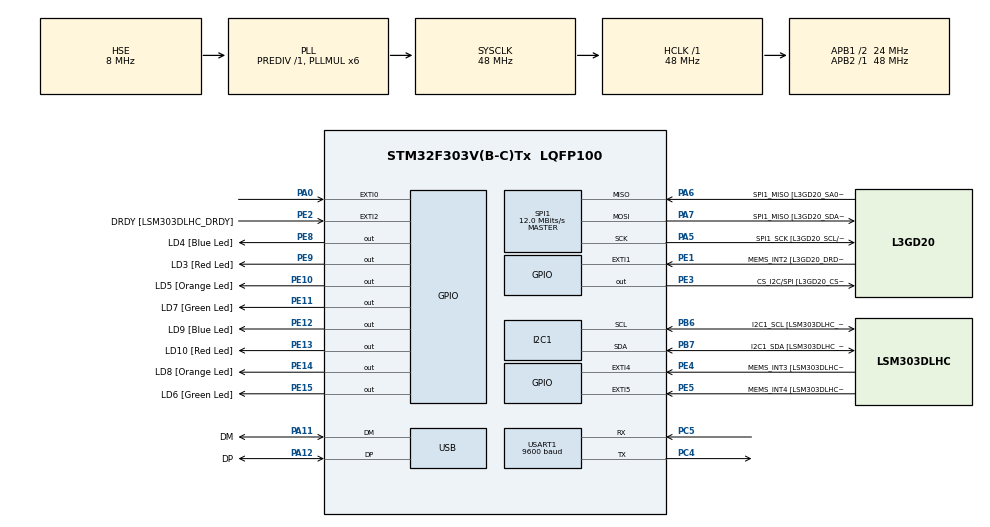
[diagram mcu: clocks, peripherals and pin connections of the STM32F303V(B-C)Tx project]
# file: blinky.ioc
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I2C1.Timing-I2C=0x2000090E
Mcu.Family=STM32F3
Mcu.Name=STM32F303V(B-C)Tx
Mcu.Package=LQFP100
NVIC.EXTI0_IRQn=true\:0\:0\:false\:false\:true\:true\:true\:true
NVIC.PriorityGroup=NVIC_PRIORITYGROUP_0
NVIC.TIM1_BRK_TIM15_IRQn=true\:0\:0\:false\:false\:true\:true\:true\:true
NVIC.TIM1_CC_IRQn=true\:0\:0\:false\:false\:true\:true\:true\:true
NVIC.TIM1_TRG_COM_TIM17_IRQn=true\:0\:0\:false\:false\:true\:true\:true\:true
NVIC.TIM1_UP_TIM16_IRQn=true\:0\:0\:false\:false\:true\:true\:true\:true
PA0.GPIO_ModeDefaultEXTI=GPIO_MODE_IT_FALLING
PA0.Signal=GPXTI0
PA11.GPIO_Label=DM
PA11.Mode=Device
PA11.Signal=USB_DM
PA12.GPIO_Label=DP
PA12.Mode=Device
PA12.Signal=USB_DP
PA13.GPIO_Label=SWDIO
PA13.Mode=Serial_Wire
PA13.Signal=SYS_JTMS-SWDIO
PA14.GPIO_Label=SWCLK
PA14.Mode=Serial_Wire
PA14.Signal=SYS_JTCK-SWCLK
PA5.GPIO_Label=SPI1_SCK [L3GD20_SCL/SPC]
PA5.Mode=Full_Duplex_Master
PA5.Signal=SPI1_SCK
PA6.GPIO_Label=SPI1_MISO [L3GD20_SA0/SDO]
PA6.Mode=Full_Duplex_Master
PA6.Signal=SPI1_MISO
PA7.GPIO_Label=SPI1_MISO [L3GD20_SDA/SDI/SDO]
PA7.Mode=Full_Duplex_Master
PA7.Signal=SPI1_MOSI
PB3.GPIO_Label=SWO
PB3.Signal=SYS_JTDO-TRACESWO
PB6.GPIO_Label=I2C1_SCL [LSM303DLHC_SCL]
PB6.GPIO_Pu=GPIO_PULLUP
PB6.Mode=I2C
PB6.Signal=I2C1_SCL
PB7.GPIO_Label=I2C1_SDA [LSM303DLHC_SDA]
PB7.GPIO_Pu=GPIO_PULLUP
PB7.Mode=I2C
PB7.Signal=I2C1_SDA
PC14-OSC32_IN.GPIO_Label=OSC32_IN
PC14-OSC32_IN.Signal=RCC_OSC32_IN
PC15-OSC32_OUT.GPIO_Label=OSC32_OUT
PC15-OSC32_OUT.Signal=RCC_OSC32_OUT
PC4.Mode=Asynchronous
PC4.Signal=USART1_TX
PC5.Mode=Asynchronous
PC5.Signal=USART1_RX
PE1.GPIO_Label=MEMS_INT2 [L3GD20_DRDY/INT2]
PE1.GPIO_ModeDefaultEXTI=GPIO_MODE_EVT_RISING
PE1.Signal=GPXTI1
PE10.GPIO_Label=LD5 [Orange Led]
PE10.Signal=GPIO_Output
PE11.GPIO_Label=LD7 [Green Led]
PE11.Signal=GPIO_Output
PE12.GPIO_Label=LD9 [Blue Led]
PE12.Signal=GPIO_Output
PE13.GPIO_Label=LD10 [Red Led]
PE13.Signal=GPIO_Output
PE14.GPIO_Label=LD8 [Orange Led]
PE14.Signal=GPIO_Output
PE15.GPIO_Label=LD6 [Green Led]
PE15.Signal=GPIO_Output
PE2.GPIO_Label=DRDY [LSM303DLHC_DRDY]
PE2.GPIO_ModeDefaultEXTI=GPIO_MODE_EVT_RISING
PE2.Signal=GPXTI2
PE3.GPIO_Label=CS_I2C/SPI [L3GD20_CS_I2C/SPI]
PE3.Signal=GPIO_Output
PE4.GPIO_Label=MEMS_INT3 [LSM303DLHC_INT1]
PE4.GPIO_ModeDefaultEXTI=GPIO_MODE_EVT_RISING
PE4.Signal=GPXTI4
PE5.GPIO_Label=MEMS_INT4 [LSM303DLHC_INT2]
PE5.GPIO_ModeDefaultEXTI=GPIO_MODE_EVT_RISING
PE5.Signal=GPXTI5
PE8.GPIO_Label=LD4 [Blue Led]
PE8.Signal=GPIO_Output
PE9.GPIO_Label=LD3 [Red Led]
PE9.Signal=GPIO_Output
PF0-OSC_IN.GPIO_Label=OSC_IN
PF0-OSC_IN.Mode=HSE-External-Clock-Source
PF0-OSC_IN.Signal=RCC_OSC_IN
PF1-OSC_OUT.GPIO_Label=OSC_OUT
PF1-OSC_OUT.Signal=RCC_OSC_OUT
ProjectManager.HeapSize=0x200
ProjectManager.StackSize=0x400
ProjectManager.TargetToolchain=STM32CubeIDE
RCC.AHBFreq_Value=48000000
RCC.APB1CLKDivider=RCC_HCLK_DIV2
RCC.APB1Freq_Value=24000000
RCC.APB1TimFreq_Value=48000000
RCC.APB2Freq_Value=48000000
RCC.APB2TimFreq_Value=48000000
RCC.CortexFreq_Value=48000000
RCC.HCLKFreq_Value=48000000
RCC.HSE_VALUE=8000000
RCC.HSI_VALUE=8000000
RCC.LSE_VALUE=32768
RCC.PLLMUL=RCC_PLL_MUL6
RCC.SYSCLKFreq_VALUE=48000000
RCC.SYSCLKSourceVirtual=RCC_SYSCLKSOURCE_PLLCLK
RCC.USBFreq_Value=48000000
SPI1.BaudRatePrescaler=SPI_BAUDRATEPRESCALER_4
SPI1.BaudRatePrescaler-Full_Duplex_Master=SPI_BAUDRATEPRESCALER_2
SPI1.CalculateBaudRate=12.0 MBits/s
SPI1.CalculateBaudRate-Full_Duplex_Master=24.0 MBits/s
SPI1.Direction=SPI_DIRECTION_2LINES
SPI1.Mode=SPI_MODE_MASTER
SPI1.Mode-Full_Duplex_Master=SPI_MODE_MASTER
SPI1.VirtualType=VM_MASTER
TIM1.Period=50
TIM1.Prescaler=32000
USART1.BaudRate=9600
USART1.VirtualMode-Asynchronous=VM_ASYNC
VP_TIM1_VS_ClockSourceINT.Mode=Internal
board=STM32F3DISCOVERY

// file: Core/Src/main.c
/* USER CODE BEGIN Header */
/**
  ******************************************************************************
  * @file           : main.c
  * @brief          : Main program body
  ******************************************************************************
  * @attention
  *
  * Copyright (c) 2023 STMicroelectronics.
  * All rights reserved.
  *
  * This software is licensed under terms that can be found in the LICENSE file
  * in the root directory of this software component.
  * If no LICENSE file comes with this software, it is provided AS-IS.
  *
  ******************************************************************************
  */
/* USER CODE END Header */
#include "main.h"

/* USER CODE BEGIN Includes */
#include "stdbool.h"
#include <stdio.h>
/* USER CODE END Includes */

I2C_HandleTypeDef hi2c1;

SPI_HandleTypeDef hspi1;

TIM_HandleTypeDef htim1;

UART_HandleTypeDef huart1;

PCD_HandleTypeDef hpcd_USB_FS;

/* USER CODE BEGIN PV */
bool debouncing = false;
bool lightsOn = true;

/* USER CODE END PV */

void SystemClock_Config(void);
static void MX_GPIO_Init(void);
static void MX_I2C1_Init(void);
static void MX_SPI1_Init(void);
static void MX_USB_PCD_Init(void);
static void MX_USART1_UART_Init(void);
static void MX_TIM1_Init(void);
/* USER CODE BEGIN PFP */
#ifdef __GNUC__
#define PUTCHAR_PROTOTYPE int  __io_putchar(int ch)
#else
#define PUTCHAR_PROTOTYPE int fputc(int ch, FILE *f)
#endif

PUTCHAR_PROTOTYPE
{
	HAL_UART_Transmit(&huart1, (uint8_t *)&ch, 1, HAL_MAX_DELAY);
	return ch;
}
/* USER CODE END PFP */

/* USER CODE BEGIN 0 */
void HAL_TIM_PeriodElapsedCallback(TIM_HandleTypeDef *htim)
{
	printf("Time elapsed\r\n");

	if(HAL_GPIO_ReadPin(GPIOA, GPIO_PIN_0) == GPIO_PIN_RESET){
		lightsOn = !lightsOn;
		printf("Changing light state: %d\r\n", lightsOn);
		debouncing = false;
		HAL_TIM_Base_Stop_IT(&htim1);
	}
}

void HAL_GPIO_EXTI_Callback(uint16_t GPIO_Pin)
{
	if(GPIO_Pin == GPIO_PIN_0 && debouncing == false){
		HAL_TIM_Base_Start_IT(&htim1);
		debouncing = true;
	}
}
/* USER CODE END 0 */

int main(void)
{

  /* MCU Configuration--------------------------------------------------------*/

  /* Reset of all peripherals, Initializes the Flash interface and the Systick. */
  HAL_Init();

  /* Configure the system clock */
  SystemClock_Config();

  /* Initialize all configured peripherals */
  MX_GPIO_Init();
  MX_I2C1_Init();
  MX_SPI1_Init();
  MX_USB_PCD_Init();
  MX_USART1_UART_Init();
  MX_TIM1_Init();
  /* USER CODE BEGIN 2 */
  bool greenToggleCyle = true;
  /* USER CODE END 2 */

  /* Infinite loop */
  while (1)
  {

    /* USER CODE BEGIN 3 */
	if (!lightsOn) {
		HAL_GPIO_WritePin(GPIOE, GPIO_PIN_8, 0);
		HAL_GPIO_WritePin(GPIOE, GPIO_PIN_9, 0);
		HAL_GPIO_WritePin(GPIOE, GPIO_PIN_10, 0);
		HAL_GPIO_WritePin(GPIOE, GPIO_PIN_11, 0);
		HAL_GPIO_WritePin(GPIOE, GPIO_PIN_12, 0);
		HAL_GPIO_WritePin(GPIOE, GPIO_PIN_13, 0);
		HAL_GPIO_WritePin(GPIOE, GPIO_PIN_14, 0);
		HAL_GPIO_WritePin(GPIOE, GPIO_PIN_15, 0);
		continue;
	}

	if (greenToggleCyle) {
		HAL_GPIO_TogglePin (GPIOE, GPIO_PIN_11);
		HAL_GPIO_TogglePin (GPIOE, GPIO_PIN_15);
	}

	greenToggleCyle = !greenToggleCyle;

	HAL_GPIO_TogglePin (GPIOE, GPIO_PIN_8);
	HAL_GPIO_TogglePin (GPIOE, GPIO_PIN_12);
	HAL_Delay (150);
	HAL_GPIO_TogglePin (GPIOE, GPIO_PIN_9);
	HAL_GPIO_TogglePin (GPIOE, GPIO_PIN_13);
	HAL_Delay (150);
	HAL_GPIO_TogglePin (GPIOE, GPIO_PIN_10);
	HAL_GPIO_TogglePin (GPIOE, GPIO_PIN_14);
	HAL_Delay (150);
  }
  /* USER CODE END 3 */
}

void SystemClock_Config(void)
{
  RCC_OscInitTypeDef RCC_OscInitStruct = {0};
  RCC_ClkInitTypeDef RCC_ClkInitStruct = {0};
  RCC_PeriphCLKInitTypeDef PeriphClkInit = {0};

  /** Initializes the RCC Oscillators according to the specified parameters
  * in the RCC_OscInitTypeDef structure.
  */
  RCC_OscInitStruct.OscillatorType = RCC_OSCILLATORTYPE_HSI|RCC_OSCILLATORTYPE_HSE;
  RCC_OscInitStruct.HSEState = RCC_HSE_BYPASS;
  RCC_OscInitStruct.HSEPredivValue = RCC_HSE_PREDIV_DIV1;
  RCC_OscInitStruct.HSIState = RCC_HSI_ON;
  RCC_OscInitStruct.HSICalibrationValue = RCC_HSICALIBRATION_DEFAULT;
  RCC_OscInitStruct.PLL.PLLState = RCC_PLL_ON;
  RCC_OscInitStruct.PLL.PLLSource = RCC_PLLSOURCE_HSE;
  RCC_OscInitStruct.PLL.PLLMUL = RCC_PLL_MUL6;
  if (HAL_RCC_OscConfig(&RCC_OscInitStruct) != HAL_OK)
  {
    Error_Handler();
  }

  /** Initializes the CPU, AHB and APB buses clocks
  */
  RCC_ClkInitStruct.ClockType = RCC_CLOCKTYPE_HCLK|RCC_CLOCKTYPE_SYSCLK
                              |RCC_CLOCKTYPE_PCLK1|RCC_CLOCKTYPE_PCLK2;
  RCC_ClkInitStruct.SYSCLKSource = RCC_SYSCLKSOURCE_PLLCLK;
  RCC_ClkInitStruct.AHBCLKDivider = RCC_SYSCLK_DIV1;
  RCC_ClkInitStruct.APB1CLKDivider = RCC_HCLK_DIV2;
  RCC_ClkInitStruct.APB2CLKDivider = RCC_HCLK_DIV1;

  if (HAL_RCC_ClockConfig(&RCC_ClkInitStruct, FLASH_LATENCY_1) != HAL_OK)
  {
    Error_Handler();
  }
  PeriphClkInit.PeriphClockSelection = RCC_PERIPHCLK_USB|RCC_PERIPHCLK_USART1
                              |RCC_PERIPHCLK_I2C1|RCC_PERIPHCLK_TIM1;
  PeriphClkInit.Usart1ClockSelection = RCC_USART1CLKSOURCE_PCLK2;
  PeriphClkInit.I2c1ClockSelection = RCC_I2C1CLKSOURCE_HSI;
  PeriphClkInit.USBClockSelection = RCC_USBCLKSOURCE_PLL;
  PeriphClkInit.Tim1ClockSelection = RCC_TIM1CLK_HCLK;
  if (HAL_RCCEx_PeriphCLKConfig(&PeriphClkInit) != HAL_OK)
  {
    Error_Handler();
  }
}

static void MX_I2C1_Init(void)
{

  hi2c1.Instance = I2C1;
  hi2c1.Init.Timing = 0x2000090E;
  hi2c1.Init.OwnAddress1 = 0;
  hi2c1.Init.AddressingMode = I2C_ADDRESSINGMODE_7BIT;
  hi2c1.Init.DualAddressMode = I2C_DUALADDRESS_DISABLE;
  hi2c1.Init.OwnAddress2 = 0;
  hi2c1.Init.OwnAddress2Masks = I2C_OA2_NOMASK;
  hi2c1.Init.GeneralCallMode = I2C_GENERALCALL_DISABLE;
  hi2c1.Init.NoStretchMode = I2C_NOSTRETCH_DISABLE;
  if (HAL_I2C_Init(&hi2c1) != HAL_OK)
  {
    Error_Handler();
  }

  /** Configure Analogue filter
  */
  if (HAL_I2CEx_ConfigAnalogFilter(&hi2c1, I2C_ANALOGFILTER_ENABLE) != HAL_OK)
  {
    Error_Handler();
  }

  /** Configure Digital filter
  */
  if (HAL_I2CEx_ConfigDigitalFilter(&hi2c1, 0) != HAL_OK)
  {
    Error_Handler();
  }

}

static void MX_SPI1_Init(void)
{

  /* SPI1 parameter configuration*/
  hspi1.Instance = SPI1;
  hspi1.Init.Mode = SPI_MODE_MASTER;
  hspi1.Init.Direction = SPI_DIRECTION_2LINES;
  hspi1.Init.DataSize = SPI_DATASIZE_4BIT;
  hspi1.Init.CLKPolarity = SPI_POLARITY_LOW;
  hspi1.Init.CLKPhase = SPI_PHASE_1EDGE;
  hspi1.Init.NSS = SPI_NSS_SOFT;
  hspi1.Init.BaudRatePrescaler = SPI_BAUDRATEPRESCALER_4;
  hspi1.Init.FirstBit = SPI_FIRSTBIT_MSB;
  hspi1.Init.TIMode = SPI_TIMODE_DISABLE;
  hspi1.Init.CRCCalculation = SPI_CRCCALCULATION_DISABLE;
  hspi1.Init.CRCPolynomial = 7;
  hspi1.Init.CRCLength = SPI_CRC_LENGTH_DATASIZE;
  hspi1.Init.NSSPMode = SPI_NSS_PULSE_ENABLE;
  if (HAL_SPI_Init(&hspi1) != HAL_OK)
  {
    Error_Handler();
  }

}

static void MX_TIM1_Init(void)
{

  TIM_ClockConfigTypeDef sClockSourceConfig = {0};
  TIM_MasterConfigTypeDef sMasterConfig = {0};

  htim1.Instance = TIM1;
  htim1.Init.Prescaler = 32000;
  htim1.Init.CounterMode = TIM_COUNTERMODE_UP;
  htim1.Init.Period = 50;
  htim1.Init.ClockDivision = TIM_CLOCKDIVISION_DIV1;
  htim1.Init.RepetitionCounter = 0;
  htim1.Init.AutoReloadPreload = TIM_AUTORELOAD_PRELOAD_DISABLE;
  if (HAL_TIM_Base_Init(&htim1) != HAL_OK)
  {
    Error_Handler();
  }
  sClockSourceConfig.ClockSource = TIM_CLOCKSOURCE_INTERNAL;
  if (HAL_TIM_ConfigClockSource(&htim1, &sClockSourceConfig) != HAL_OK)
  {
    Error_Handler();
  }
  sMasterConfig.MasterOutputTrigger = TIM_TRGO_RESET;
  sMasterConfig.MasterOutputTrigger2 = TIM_TRGO2_RESET;
  sMasterConfig.MasterSlaveMode = TIM_MASTERSLAVEMODE_DISABLE;
  if (HAL_TIMEx_MasterConfigSynchronization(&htim1, &sMasterConfig) != HAL_OK)
  {
    Error_Handler();
  }

}

static void MX_USART1_UART_Init(void)
{

  huart1.Instance = USART1;
  huart1.Init.BaudRate = 9600;
  huart1.Init.WordLength = UART_WORDLENGTH_8B;
  huart1.Init.StopBits = UART_STOPBITS_1;
  huart1.Init.Parity = UART_PARITY_NONE;
  huart1.Init.Mode = UART_MODE_TX_RX;
  huart1.Init.HwFlowCtl = UART_HWCONTROL_NONE;
  huart1.Init.OverSampling = UART_OVERSAMPLING_16;
  huart1.Init.OneBitSampling = UART_ONE_BIT_SAMPLE_DISABLE;
  huart1.AdvancedInit.AdvFeatureInit = UART_ADVFEATURE_NO_INIT;
  if (HAL_UART_Init(&huart1) != HAL_OK)
  {
    Error_Handler();
  }

}

static void MX_USB_PCD_Init(void)
{

  hpcd_USB_FS.Instance = USB;
  hpcd_USB_FS.Init.dev_endpoints = 8;
  hpcd_USB_FS.Init.speed = PCD_SPEED_FULL;
  hpcd_USB_FS.Init.phy_itface = PCD_PHY_EMBEDDED;
  hpcd_USB_FS.Init.low_power_enable = DISABLE;
  hpcd_USB_FS.Init.battery_charging_enable = DISABLE;
  if (HAL_PCD_Init(&hpcd_USB_FS) != HAL_OK)
  {
    Error_Handler();
  }

}

static void MX_GPIO_Init(void)
{
  GPIO_InitTypeDef GPIO_InitStruct = {0};

  /* GPIO Ports Clock Enable */
  __HAL_RCC_GPIOE_CLK_ENABLE();
  __HAL_RCC_GPIOC_CLK_ENABLE();
  __HAL_RCC_GPIOF_CLK_ENABLE();
  __HAL_RCC_GPIOA_CLK_ENABLE();
  __HAL_RCC_GPIOB_CLK_ENABLE();

  /*Configure GPIO pin Output Level */
  HAL_GPIO_WritePin(GPIOE, CS_I2C_SPI_Pin|LD4_Pin|LD3_Pin|LD5_Pin
                          |LD7_Pin|LD9_Pin|LD10_Pin|LD8_Pin
                          |LD6_Pin, GPIO_PIN_RESET);

  /*Configure GPIO pins : DRDY_Pin MEMS_INT3_Pin MEMS_INT4_Pin MEMS_INT2_Pin */
  GPIO_InitStruct.Pin = DRDY_Pin|MEMS_INT3_Pin|MEMS_INT4_Pin|MEMS_INT2_Pin;
  GPIO_InitStruct.Mode = GPIO_MODE_EVT_RISING;
  GPIO_InitStruct.Pull = GPIO_NOPULL;
  HAL_GPIO_Init(GPIOE, &GPIO_InitStruct);

  /*Configure GPIO pins : CS_I2C_SPI_Pin LD4_Pin LD3_Pin LD5_Pin
                           LD7_Pin LD9_Pin LD10_Pin LD8_Pin
                           LD6_Pin */
  GPIO_InitStruct.Pin = CS_I2C_SPI_Pin|LD4_Pin|LD3_Pin|LD5_Pin
                          |LD7_Pin|LD9_Pin|LD10_Pin|LD8_Pin
                          |LD6_Pin;
  GPIO_InitStruct.Mode = GPIO_MODE_OUTPUT_PP;
  GPIO_InitStruct.Pull = GPIO_NOPULL;
  GPIO_InitStruct.Speed = GPIO_SPEED_FREQ_LOW;
  HAL_GPIO_Init(GPIOE, &GPIO_InitStruct);

  /*Configure GPIO pin : PA0 */
  GPIO_InitStruct.Pin = GPIO_PIN_0;
  GPIO_InitStruct.Mode = GPIO_MODE_IT_FALLING;
  GPIO_InitStruct.Pull = GPIO_NOPULL;
  HAL_GPIO_Init(GPIOA, &GPIO_InitStruct);

  /* EXTI interrupt init*/
  HAL_NVIC_SetPriority(EXTI0_IRQn, 0, 0);
  HAL_NVIC_EnableIRQ(EXTI0_IRQn);

}

void Error_Handler(void)
{
  __disable_irq();
  while (1)
  {
  }
}
